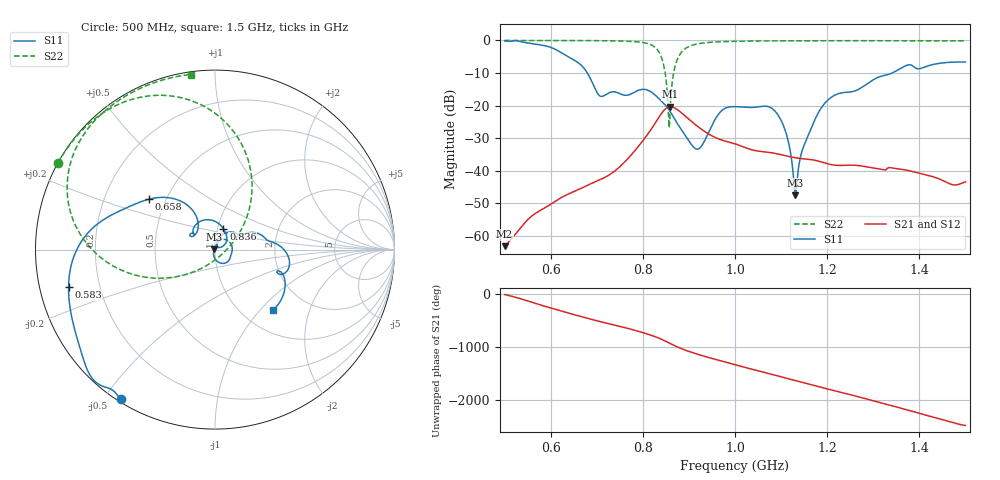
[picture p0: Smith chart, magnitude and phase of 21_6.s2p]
! TOUCHSTONE file generated by CST MICROWAVE STUDIO
! Date and time: Sat Oct 24 11:46:58 2020
! Project name: Scenario_1_Circular_Tissue_out_of_Line.cst
! Parameters = {dy1=0.82; L_HA=400; MT=2.54; Rad_Dielectric=30; Rad_Lower=7.3; Rad_Upper=30; a_HA=580; a_WG=246; b_HA=500; b_WG=121; c_HA=0; c_WG=187; d_feed=85; dx1=1039; h_feed=15; h_lower=18; h_upper=40}
! Header version: 2018
! Port assignment regex: !\s*Touchstone port\s*([0-9]+)\s*=\s*(CST MWS port|CST DS port)\s*([0-9]+|Zmin|Zmax)\s*\(\"(.*)\"\)(\s*mode\s*([0-9]+))?.*
! Touchstone port assignment:
! Touchstone port 1 = CST MWS port 1 ("")
! Touchstone port 2 = CST MWS port 2 ("")
# GHz S DB R 50
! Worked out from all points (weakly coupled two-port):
!   1001 points, 500 MHz to 1.5 GHz, reference 50 ohm
!   highest |S21| = -20.34 dB at 860 MHz (marker M1); lowest = -63.1 dB at 500 MHz (marker M2)
!   lowest |S11| = -47.5 dB at 1.131 GHz (marker M3), VSWR 1.01, Z = 49.6 + j0.167 ohm
!   |S11| at or under -10 dB: 679.6 MHz to 1.341 GHz (661.3 MHz wide, 65.5 % of centre)
!   |S22| runs from -26.8 to 0.0 dB; largest |S21 - S12| = 2.1e-05
!   S11 on the Smith chart (normalised r, x): 500 MHz: 0.01, -0.55; 583 MHz: 0.09, -0.12; 658 MHz: 0.40, +0.29; 836 MHz: 1.07, +0.25; 1.5 GHz: 1.38, -1.18
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0.5  -0.15 -122.3  -63.14 -2.7  -63.14 -2.7  -0.01 151.1
0.583  -1.49 -165.7  -51.76 146.9  -51.76 146.9  -0.02 145.4
0.658  -6.67 142.8  -45.93 -40.0  -45.93 -40.0  -0.04 139.2
0.667  -7.71 135.0  -45.33 -61.2  -45.33 -61.2  -0.04 138.4
0.708  -17.13 137.7  -42.69 -155.8  -42.69 -155.8  -0.07 133.9
0.789  -15.39 133.9  -32.75 26.3  -32.75 26.3  -0.44 117.3
0.834  -17.74 70.9  -23.77 -102.8  -23.77 -102.8  -3.35 82.3
0.836  -18.02 68.2  -23.34 -110.1  -23.34 -110.1  -3.82 79.1
0.855  -20.89 42.8  -20.47 170.9  -20.47 170.9  -20.74 16.1
0.86  -21.97 36.1  -20.34 148.8  -20.34 148.8  -19.28 -120.4
0.87  -24.42 27.4  -20.80 106.7  -20.80 106.7  -7.90 -157.2
0.888  -28.32 21.7  -22.72 40.9  -22.72 40.9  -2.99 177.8
0.921  -33.28 49.9  -26.61 -56.7  -26.61 -56.7  -0.99 157.4
0.967  -22.15 46.6  -30.36 -169.3  -30.36 -169.3  -0.41 145.3
1  -20.32 4.7  -31.71 112.0  -31.71 112.0  -0.27 140.2
1.09  -22.23 -70.9  -34.75 -94.1  -34.75 -94.1  -0.13 130.6
1.113  -29.51 -102.6  -35.50 -147.3  -35.50 -147.3  -0.12 128.6
1.131  -47.52 156.4  -36.01 172.8  -36.01 172.8  -0.11 127.1
1.167  -26.45 74.8  -36.61 90.4  -36.61 90.4  -0.10 124.2
1.21  -17.36 46.2  -38.16 -6.0  -38.16 -6.0  -0.09 120.8
1.334  -10.38 9.1  -39.02 70.6  -39.02 70.6  -0.09 111.4
1.5  -6.62 -45.9  -43.42 44.2  -43.44 44.4  -0.13 97.9
